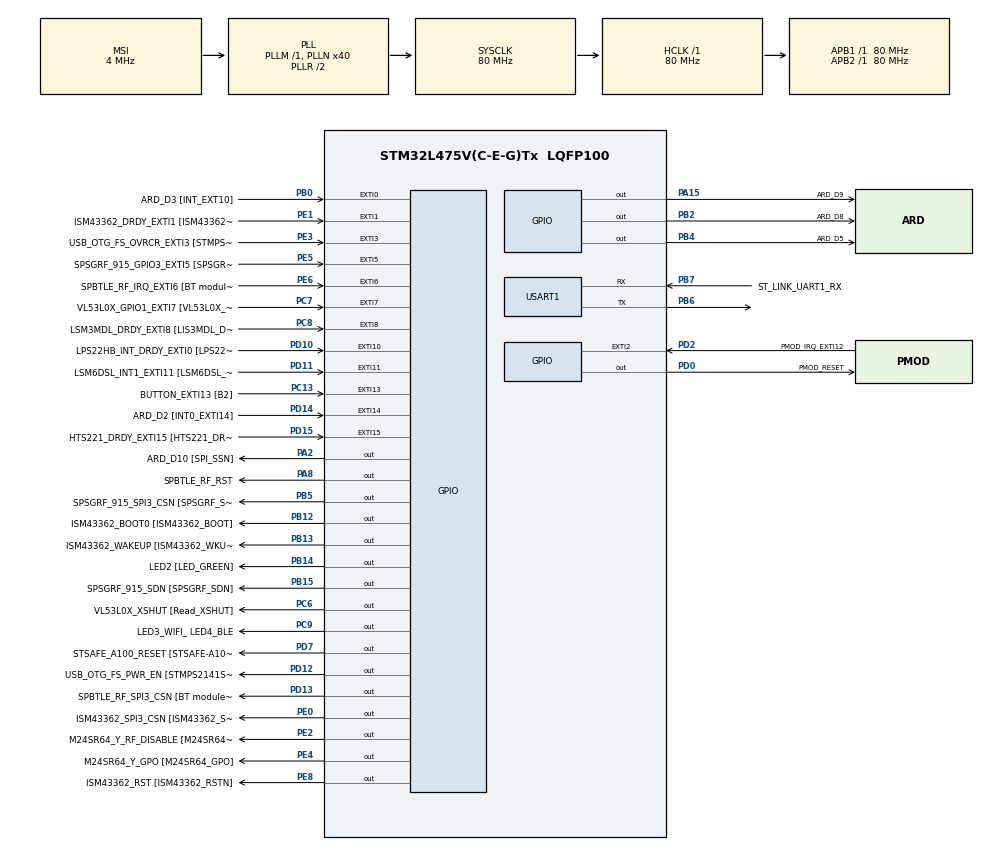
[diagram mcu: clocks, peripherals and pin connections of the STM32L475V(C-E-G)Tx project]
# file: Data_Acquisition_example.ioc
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ADC1.Channel-0\#ChannelRegularConversion=ADC_CHANNEL_TEMPSENSOR
ADC1.ContinuousConvMode=DISABLE
ADC1.DMAContinuousRequests=DISABLE
ADC1.ExternalTrigConv=ADC_EXTERNALTRIG_T1_TRGO
ADC1.NbrOfConversionFlag=1
ADC1.OffsetNumber-0\#ChannelRegularConversion=ADC_OFFSET_NONE
ADC1.Rank-0\#ChannelRegularConversion=1
ADC1.SamplingTime-0\#ChannelRegularConversion=ADC_SAMPLETIME_640CYCLES_5
ADC1.master=1
FREERTOS.BinarySemaphores01=adcsem,Dynamic,NULL,Depleted
FREERTOS.Tasks01=defaultTask,24,512,StartDefaultTask,Default,NULL,Dynamic,NULL,NULL
Mcu.Family=STM32L4
Mcu.Name=STM32L475V(C-E-G)Tx
Mcu.Package=LQFP100
NVIC.ADC1_2_IRQn=true\:5\:0\:true\:false\:true\:true\:true\:true\:true
NVIC.EXTI15_10_IRQn=true\:5\:0\:true\:false\:true\:true\:true\:true\:true
NVIC.EXTI9_5_IRQn=true\:5\:0\:false\:false\:true\:true\:true\:true\:true
NVIC.PriorityGroup=NVIC_PRIORITYGROUP_4
NVIC.TIM6_DAC_IRQn=true\:15\:0\:false\:false\:true\:false\:false\:true\:true
NVIC.TimeBase=TIM6_DAC_IRQn
NVIC.TimeBaseIP=TIM6
PA0.GPIO_Label=ARD_D1 [UART4_TX]
PA0.Signal=UART4_TX
PA1.GPIO_Label=ARD_D0 [UART4_RX]
PA1.Signal=UART4_RX
PA10.GPIO_Label=USB_OTG_FS_ID
PA10.Signal=USB_OTG_FS_ID
PA11.GPIO_Label=USB_OTG_FS_DM
PA11.Signal=USB_OTG_FS_DM
PA12.GPIO_Label=USB_OTG_FS_DP
PA12.Signal=USB_OTG_FS_DP
PA13\ (JTMS-SWDIO).GPIO_Label=SYS_JTMS_SWDIO
PA13\ (JTMS-SWDIO).Mode=Serial_Wire
PA13\ (JTMS-SWDIO).Signal=SYS_JTMS-SWDIO
PA14\ (JTCK-SWCLK).GPIO_Label=SYS_JTCK_SWCLK
PA14\ (JTCK-SWCLK).Mode=Serial_Wire
PA14\ (JTCK-SWCLK).Signal=SYS_JTCK-SWCLK
PA15\ (JTDI).GPIO_Label=ARD_D9
PA15\ (JTDI).Signal=GPIO_Output
PA2.GPIO_Label=ARD_D10 [SPI_SSN]
PA2.Signal=GPIO_Output
PA3.GPIO_Label=ARD_D4
PA3.Signal=S_TIM2_CH4
PA4.GPIO_Label=ARD_D7
PA4.Signal=ADCx_IN9
PA5.GPIO_Label=ARD_D13 [SPI1_SCK]
PA5.Signal=SPI1_SCK
PA6.GPIO_Label=ARD_D12 [SPI1_MISO]
PA6.Signal=SPI1_MISO
PA7.GPIO_Label=ARD_D11 [SPI1_MOSI]
PA7.Signal=SPI1_MOSI
PA8.GPIO_Label=SPBTLE_RF_RST
PA8.Signal=GPIO_Output
PA9.GPIO_Label=USB_OTG_FS_VBUS [STMPS2141STR_OUT]
PA9.Signal=USB_OTG_FS_VBUS
PB0.GPIO_Label=ARD_D3 [INT_EXT10]
PB0.Signal=GPXTI0
PB1.GPIO_Label=ARD_D6 [ADC1_IN6]
PB1.Signal=ADCx_IN16
PB10.GPIO_Label=INTERNAL_I2C2_SCL [VL53L0X_SCL]
PB10.Signal=I2C2_SCL
PB11.GPIO_Label=INTERNAL_I2C2_SDA [VL53L0X_SDA]
PB11.Signal=I2C2_SDA
PB12.GPIO_Label=ISM43362_BOOT0 [ISM43362_BOOT]
PB12.Signal=GPIO_Output
PB13.GPIO_Label=ISM43362_WAKEUP [ISM43362_WKUP]
PB13.Signal=GPIO_Output
PB14.GPIO_Label=LED2 [LED_GREEN]
PB14.Signal=GPIO_Output
PB15.GPIO_Label=SPSGRF_915_SDN [SPSGRF_SDN]
PB15.Signal=GPIO_Output
PB2.GPIO_Label=ARD_D8
PB2.Signal=GPIO_Output
PB3\ (JTDO-TRACESWO).GPIO_Label=SYS_JTD0_SWO
PB3\ (JTDO-TRACESWO).Signal=SYS_JTDO-SWO
PB4\ (NJTRST).GPIO_Label=ARD_D5
PB4\ (NJTRST).Signal=GPIO_Output
PB5.GPIO_Label=SPSGRF_915_SPI3_CSN [SPSGRF_SPI_CS]
PB5.PinState=GPIO_PIN_SET
PB5.Signal=GPIO_Output
PB6.Mode=Asynchronous
PB6.Signal=USART1_TX
PB7.GPIO_Label=ST_LINK_UART1_RX
PB7.Mode=Asynchronous
PB7.Signal=USART1_RX
PB8.GPIO_Label=ARD_D15 [I2C1_SCL]
PB8.Signal=I2C1_SCL
PB9.GPIO_Label=ARD_D14 [I2C1_SDA]
PB9.Signal=I2C1_SDA
PC0.GPIO_Label=ARD_A5 [ADC]
PC0.Signal=ADCx_IN1
PC1.GPIO_Label=ARD_A4 [ADC]
PC1.Signal=ADCx_IN2
PC10.GPIO_Label=INTERNAL_SPI3_SCK [BT module_SPI_SCLK] [ISM43362_SCK]
PC10.Signal=SPI3_SCK
PC11.GPIO_Label=INTERNAL_SPI3_MISO [BT module_SPI_MISO] [ISM43362_MISO]
PC11.Signal=SPI3_MISO
PC12.GPIO_Label=INTERNAL_SPI3_MOSI [BT module_SPI_MOSI] [ISM43362_MOSI]
PC12.Signal=SPI3_MOSI
PC13.GPIO_Label=BUTTON_EXTI13 [B2]
PC13.GPIO_ModeDefaultEXTI=GPIO_MODE_IT_FALLING
PC13.Signal=GPXTI13
PC14-OSC32_IN\ (PC14).Signal=RCC_OSC32_IN
PC15-OSC32_OUT\ (PC15).Signal=RCC_OSC32_OUT
PC2.GPIO_Label=ARD_A3 [ADC]
PC2.Signal=ADCx_IN3
PC3.GPIO_Label=ARD_A2 [ADC]
PC3.Signal=ADCx_IN4
PC4.GPIO_Label=ARD_A1 [ADC]
PC4.Signal=ADCx_IN13
PC5.GPIO_Label=ARD_A0 [ADC]
PC5.Signal=ADCx_IN14
PC6.GPIO_Label=VL53L0X_XSHUT [Read_XSHUT]
PC6.Signal=GPIO_Output
PC7.GPIO_Label=VL53L0X_GPIO1_EXTI7 [VL53L0X_GPIO1]
PC7.Signal=GPXTI7
PC8.GPIO_Label=LSM3MDL_DRDY_EXTI8 [LIS3MDL_DRDY]
PC8.Signal=GPXTI8
PC9.GPIO_Label=LED3_WIFI_ LED4_BLE
PC9.Signal=GPIO_Output
PD0.GPIO_Label=PMOD_RESET
PD0.Signal=GPIO_Output
PD1.GPIO_Label=PMOD_SPI2_SCK
PD1.Signal=SPI2_SCK
PD10.GPIO_Label=LPS22HB_INT_DRDY_EXTI0 [LPS22HB_INT_DRDY] 
PD10.Signal=GPXTI10
PD11.GPIO_Label=LSM6DSL_INT1_EXTI11 [LSM6DSL_INT1]
PD11.Signal=GPXTI11
PD12.GPIO_Label=USB_OTG_FS_PWR_EN [STMPS2141STR_EN]
PD12.Signal=GPIO_Output
PD13.GPIO_Label=SPBTLE_RF_SPI3_CSN [BT module_SPI_CS]
PD13.PinState=GPIO_PIN_SET
PD13.Signal=GPIO_Output
PD14.GPIO_Label=ARD_D2 [INT0_EXTI14]
PD14.Signal=GPXTI14
PD15.GPIO_Label=HTS221_DRDY_EXTI15 [HTS221_DRDY]
PD15.Signal=GPXTI15
PD2.GPIO_Label=PMOD_IRQ_EXTI12
PD2.Signal=GPXTI2
PD3.GPIO_Label=PMOD_UART2_CTS
PD3.Signal=USART2_CTS
PD4.GPIO_Label=PMOD_UART2_RTS
PD4.Signal=USART2_RTS
PD5.GPIO_Label=PMOD_UART2_TX
PD5.Signal=USART2_TX
PD6.GPIO_Label=PMOD_UART2_RX
PD6.Signal=USART2_RX
PD7.GPIO_Label=STSAFE_A100_RESET [STSAFE-A100_RESET]
PD7.Signal=GPIO_Output
PD8.GPIO_Label=INTERNAL_UART3_TX [ISM43362_RX]
PD8.Signal=USART3_TX
PD9.GPIO_Label=INTERNAL_UART3_RX [ISM43362_TX]
PD9.Signal=USART3_RX
PE0.GPIO_Label=ISM43362_SPI3_CSN [ISM43362_SSN]
PE0.PinState=GPIO_PIN_SET
PE0.Signal=GPIO_Output
PE1.GPIO_Label=ISM43362_DRDY_EXTI1 [ISM43362_DATARDY]
PE1.Signal=GPXTI1
PE10.GPIO_Label=QUADSPI_CLK [MX25R6435F_SCLK]
PE10.Signal=QUADSPI_CLK
PE11.GPIO_Label=QUADSPI_NCS [MX25R6435F_SCLK]
PE11.Signal=QUADSPI_NCS
PE12.GPIO_Label=OQUADSPI_BK1_IO0 [MX25R6435F_IO0]
PE12.Signal=QUADSPI_BK1_IO0
PE13.GPIO_Label=QUADSPI_BK1_IO1 [MX25R6435F_IO1]
PE13.Signal=QUADSPI_BK1_IO1
PE14.GPIO_Label=QUAD_SPI_BK1_IO2 [MX25R6435F_IO2]
PE14.Signal=QUADSPI_BK1_IO2
PE15.GPIO_Label=QUAD_SPI_BK1_IO3 [MX25R6435F_IO3]
PE15.Signal=QUADSPI_BK1_IO3
PE2.GPIO_Label=M24SR64_Y_RF_DISABLE [M24SR64_RFDIS]
PE2.Signal=GPIO_Output
PE3.GPIO_Label=USB_OTG_FS_OVRCR_EXTI3 [STMPS2141STR_FAULT]
PE3.Signal=GPXTI3
PE4.GPIO_Label=M24SR64_Y_GPO [M24SR64_GPO]
PE4.Signal=GPIO_Output
PE5.GPIO_Label=SPSGRF_915_GPIO3_EXTI5 [SPSGRF_GPIO_3]
PE5.Signal=GPXTI5
PE6.GPIO_Label=SPBTLE_RF_IRQ_EXTI6 [BT module_SPI_IRQ]
PE6.Signal=GPXTI6
PE7.GPIO_Label=DFSDM1_DATIN2 [MP34DT01_DOUT]
PE7.Signal=S_DATAIN2DFSDM1
PE8.GPIO_Label=ISM43362_RST [ISM43362_RSTN]
PE8.Signal=GPIO_Output
PE9.GPIO_Label=DFSDM1_CKOUT [MP34DT01_CLK]
PE9.Signal=S_CKOUTDFSDM1
ProjectManager.HeapSize=0x200
ProjectManager.StackSize=0x400
ProjectManager.TargetToolchain=STM32CubeIDE
RCC.ADCFreq_Value=48000000
RCC.AHBFreq_Value=80000000
RCC.APB1Freq_Value=80000000
RCC.APB1TimFreq_Value=80000000
RCC.APB2Freq_Value=80000000
RCC.APB2TimFreq_Value=80000000
RCC.CortexFreq_Value=80000000
RCC.HCLKFreq_Value=80000000
RCC.HSE_VALUE=8000000
RCC.HSI_VALUE=16000000
RCC.LSE_VALUE=32768
RCC.MSI_VALUE=4000000
RCC.PLLN=40
RCC.PLLSAI1N=24
RCC.SYSCLKFreq_VALUE=80000000
RCC.SYSCLKSource=RCC_SYSCLKSOURCE_PLLCLK
RCC.USBFreq_Value=48000000
RCC.VCOOutputFreq_Value=160000000
SH.ADCx_IN1.0=ADC1_IN1
SH.ADCx_IN13.0=ADC1_IN13
SH.ADCx_IN14.0=ADC1_IN14
SH.ADCx_IN16.0=ADC1_IN16
SH.ADCx_IN2.0=ADC1_IN2
SH.ADCx_IN3.0=ADC1_IN3
SH.ADCx_IN4.0=ADC1_IN4
SH.ADCx_IN9.0=ADC1_IN9
SH.S_CKOUTDFSDM1.0=DFSDM1_CKOUT
SH.S_DATAIN2DFSDM1.0=DFSDM1_DATIN2
SH.S_TIM2_CH4.0=TIM2_CH4
TIM1.Period=1000-1
TIM1.Prescaler=8000-1
TIM1.TIM_MasterOutputTrigger=TIM_TRGO_UPDATE
TIM1.TIM_MasterOutputTrigger2=TIM_TRGO2_RESET
USART1.VirtualMode-Asynchronous=VM_ASYNC
VP_ADC1_TempSens_Input.Mode=IN-TempSens
VP_FREERTOS_VS_CMSIS_V2.Mode=CMSIS_V2
VP_SYS_VS_tim6.Mode=TIM6
VP_TIM1_VS_ClockSourceINT.Mode=Internal
board=B-L475E-IOT01A1

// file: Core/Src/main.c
/* USER CODE BEGIN Header */
/**
  ******************************************************************************
  * @file           : main.c
  * @brief          : Main program body
  ******************************************************************************
  * @attention
  *
  * Copyright (c) 2026 STMicroelectronics.
  * All rights reserved.
  *
  * This software is licensed under terms that can be found in the LICENSE file
  * in the root directory of this software component.
  * If no LICENSE file comes with this software, it is provided AS-IS.
  *
  ******************************************************************************
  */
/* USER CODE END Header */
#include "main.h"
#include "cmsis_os.h"

/* USER CODE BEGIN Includes */
#include <stdio.h>

/* USER CODE END Includes */

ADC_HandleTypeDef hadc1;

TIM_HandleTypeDef htim1;

UART_HandleTypeDef huart1;

/* Definitions for defaultTask */
osThreadId_t defaultTaskHandle;
const osThreadAttr_t defaultTask_attributes = {
  .name = "defaultTask",
  .stack_size = 512 * 4,
  .priority = (osPriority_t) osPriorityNormal,
};
/* Definitions for adcsem */
osSemaphoreId_t adcsemHandle;
const osSemaphoreAttr_t adcsem_attributes = {
  .name = "adcsem"
};
/* USER CODE BEGIN PV */
volatile uint16_t adcValue;     // ISR 讀到的轉換結果，交給 task 用
/* USER CODE END PV */

void SystemClock_Config(void);
static void MX_GPIO_Init(void);
static void MX_ADC1_Init(void);
static void MX_USART1_UART_Init(void);
static void MX_TIM1_Init(void);
void StartDefaultTask(void *argument);

int main(void)
{

  /* MCU Configuration--------------------------------------------------------*/

  /* Reset of all peripherals, Initializes the Flash interface and the Systick. */
  HAL_Init();

  /* Configure the system clock */
  SystemClock_Config();

  /* Initialize all configured peripherals */
  MX_GPIO_Init();
  MX_ADC1_Init();
  MX_USART1_UART_Init();
  MX_TIM1_Init();

  /* Init scheduler */
  osKernelInitialize();

  /* Create the semaphores(s) */
  /* creation of adcsem */
  adcsemHandle = osSemaphoreNew(1, 0, &adcsem_attributes);

  /* Create the thread(s) */
  /* creation of defaultTask */
  defaultTaskHandle = osThreadNew(StartDefaultTask, NULL, &defaultTask_attributes);

  /* Start scheduler */
  osKernelStart();

  /* We should never get here as control is now taken by the scheduler */

  /* Infinite loop */
  while (1)
  {

  }
}

void SystemClock_Config(void)
{
  RCC_OscInitTypeDef RCC_OscInitStruct = {0};
  RCC_ClkInitTypeDef RCC_ClkInitStruct = {0};

  /** Configure the main internal regulator output voltage
  */
  if (HAL_PWREx_ControlVoltageScaling(PWR_REGULATOR_VOLTAGE_SCALE1) != HAL_OK)
  {
    Error_Handler();
  }

  /** Initializes the RCC Oscillators according to the specified parameters
  * in the RCC_OscInitTypeDef structure.
  */
  RCC_OscInitStruct.OscillatorType = RCC_OSCILLATORTYPE_MSI;
  RCC_OscInitStruct.MSIState = RCC_MSI_ON;
  RCC_OscInitStruct.MSICalibrationValue = 0;
  RCC_OscInitStruct.MSIClockRange = RCC_MSIRANGE_6;
  RCC_OscInitStruct.PLL.PLLState = RCC_PLL_ON;
  RCC_OscInitStruct.PLL.PLLSource = RCC_PLLSOURCE_MSI;
  RCC_OscInitStruct.PLL.PLLM = 1;
  RCC_OscInitStruct.PLL.PLLN = 40;
  RCC_OscInitStruct.PLL.PLLP = RCC_PLLP_DIV7;
  RCC_OscInitStruct.PLL.PLLQ = RCC_PLLQ_DIV2;
  RCC_OscInitStruct.PLL.PLLR = RCC_PLLR_DIV2;
  if (HAL_RCC_OscConfig(&RCC_OscInitStruct) != HAL_OK)
  {
    Error_Handler();
  }

  /** Initializes the CPU, AHB and APB buses clocks
  */
  RCC_ClkInitStruct.ClockType = RCC_CLOCKTYPE_HCLK|RCC_CLOCKTYPE_SYSCLK
                              |RCC_CLOCKTYPE_PCLK1|RCC_CLOCKTYPE_PCLK2;
  RCC_ClkInitStruct.SYSCLKSource = RCC_SYSCLKSOURCE_PLLCLK;
  RCC_ClkInitStruct.AHBCLKDivider = RCC_SYSCLK_DIV1;
  RCC_ClkInitStruct.APB1CLKDivider = RCC_HCLK_DIV1;
  RCC_ClkInitStruct.APB2CLKDivider = RCC_HCLK_DIV1;

  if (HAL_RCC_ClockConfig(&RCC_ClkInitStruct, FLASH_LATENCY_4) != HAL_OK)
  {
    Error_Handler();
  }
}

static void MX_ADC1_Init(void)
{

  ADC_MultiModeTypeDef multimode = {0};
  ADC_ChannelConfTypeDef sConfig = {0};

  /** Common config
  */
  hadc1.Instance = ADC1;
  hadc1.Init.ClockPrescaler = ADC_CLOCK_ASYNC_DIV1;
  hadc1.Init.Resolution = ADC_RESOLUTION_12B;
  hadc1.Init.DataAlign = ADC_DATAALIGN_RIGHT;
  hadc1.Init.ScanConvMode = ADC_SCAN_DISABLE;
  hadc1.Init.EOCSelection = ADC_EOC_SINGLE_CONV;
  hadc1.Init.LowPowerAutoWait = DISABLE;
  hadc1.Init.ContinuousConvMode = DISABLE;
  hadc1.Init.NbrOfConversion = 1;
  hadc1.Init.DiscontinuousConvMode = DISABLE;
  hadc1.Init.ExternalTrigConv = ADC_EXTERNALTRIG_T1_TRGO;
  hadc1.Init.ExternalTrigConvEdge = ADC_EXTERNALTRIGCONVEDGE_RISING;
  hadc1.Init.DMAContinuousRequests = DISABLE;
  hadc1.Init.Overrun = ADC_OVR_DATA_PRESERVED;
  hadc1.Init.OversamplingMode = DISABLE;
  if (HAL_ADC_Init(&hadc1) != HAL_OK)
  {
    Error_Handler();
  }

  /** Configure the ADC multi-mode
  */
  multimode.Mode = ADC_MODE_INDEPENDENT;
  if (HAL_ADCEx_MultiModeConfigChannel(&hadc1, &multimode) != HAL_OK)
  {
    Error_Handler();
  }

  /** Configure Regular Channel
  */
  sConfig.Channel = ADC_CHANNEL_TEMPSENSOR;
  sConfig.Rank = ADC_REGULAR_RANK_1;
  sConfig.SamplingTime = ADC_SAMPLETIME_640CYCLES_5;
  sConfig.SingleDiff = ADC_SINGLE_ENDED;
  sConfig.OffsetNumber = ADC_OFFSET_NONE;
  sConfig.Offset = 0;
  if (HAL_ADC_ConfigChannel(&hadc1, &sConfig) != HAL_OK)
  {
    Error_Handler();
  }

}

static void MX_TIM1_Init(void)
{

  TIM_ClockConfigTypeDef sClockSourceConfig = {0};
  TIM_MasterConfigTypeDef sMasterConfig = {0};

  htim1.Instance = TIM1;
  htim1.Init.Prescaler = 8000-1;
  htim1.Init.CounterMode = TIM_COUNTERMODE_UP;
  htim1.Init.Period = 1000-1;
  htim1.Init.ClockDivision = TIM_CLOCKDIVISION_DIV1;
  htim1.Init.RepetitionCounter = 0;
  htim1.Init.AutoReloadPreload = TIM_AUTORELOAD_PRELOAD_DISABLE;
  if (HAL_TIM_Base_Init(&htim1) != HAL_OK)
  {
    Error_Handler();
  }
  sClockSourceConfig.ClockSource = TIM_CLOCKSOURCE_INTERNAL;
  if (HAL_TIM_ConfigClockSource(&htim1, &sClockSourceConfig) != HAL_OK)
  {
    Error_Handler();
  }
  sMasterConfig.MasterOutputTrigger = TIM_TRGO_UPDATE;
  sMasterConfig.MasterOutputTrigger2 = TIM_TRGO2_RESET;
  sMasterConfig.MasterSlaveMode = TIM_MASTERSLAVEMODE_DISABLE;
  if (HAL_TIMEx_MasterConfigSynchronization(&htim1, &sMasterConfig) != HAL_OK)
  {
    Error_Handler();
  }

}

static void MX_USART1_UART_Init(void)
{

  huart1.Instance = USART1;
  huart1.Init.BaudRate = 115200;
  huart1.Init.WordLength = UART_WORDLENGTH_8B;
  huart1.Init.StopBits = UART_STOPBITS_1;
  huart1.Init.Parity = UART_PARITY_NONE;
  huart1.Init.Mode = UART_MODE_TX_RX;
  huart1.Init.HwFlowCtl = UART_HWCONTROL_NONE;
  huart1.Init.OverSampling = UART_OVERSAMPLING_16;
  huart1.Init.OneBitSampling = UART_ONE_BIT_SAMPLE_DISABLE;
  huart1.AdvancedInit.AdvFeatureInit = UART_ADVFEATURE_NO_INIT;
  if (HAL_UART_Init(&huart1) != HAL_OK)
  {
    Error_Handler();
  }

}

static void MX_GPIO_Init(void)
{
  GPIO_InitTypeDef GPIO_InitStruct = {0};

  /* GPIO Ports Clock Enable */
  __HAL_RCC_GPIOE_CLK_ENABLE();
  __HAL_RCC_GPIOC_CLK_ENABLE();
  __HAL_RCC_GPIOA_CLK_ENABLE();
  __HAL_RCC_GPIOB_CLK_ENABLE();
  __HAL_RCC_GPIOD_CLK_ENABLE();

  /*Configure GPIO pin Output Level */
  HAL_GPIO_WritePin(GPIOE, M24SR64_Y_RF_DISABLE_Pin|M24SR64_Y_GPO_Pin|ISM43362_RST_Pin, GPIO_PIN_RESET);

  /*Configure GPIO pin Output Level */
  HAL_GPIO_WritePin(GPIOA, ARD_D10_Pin|SPBTLE_RF_RST_Pin|ARD_D9_Pin, GPIO_PIN_RESET);

  /*Configure GPIO pin Output Level */
  HAL_GPIO_WritePin(GPIOB, ARD_D8_Pin|ISM43362_BOOT0_Pin|ISM43362_WAKEUP_Pin|LED2_Pin
                          |SPSGRF_915_SDN_Pin|ARD_D5_Pin, GPIO_PIN_RESET);

  /*Configure GPIO pin Output Level */
  HAL_GPIO_WritePin(GPIOD, USB_OTG_FS_PWR_EN_Pin|PMOD_RESET_Pin|STSAFE_A100_RESET_Pin, GPIO_PIN_RESET);

  /*Configure GPIO pin Output Level */
  HAL_GPIO_WritePin(SPBTLE_RF_SPI3_CSN_GPIO_Port, SPBTLE_RF_SPI3_CSN_Pin, GPIO_PIN_SET);

  /*Configure GPIO pin Output Level */
  HAL_GPIO_WritePin(GPIOC, VL53L0X_XSHUT_Pin|LED3_WIFI__LED4_BLE_Pin, GPIO_PIN_RESET);

  /*Configure GPIO pin Output Level */
  HAL_GPIO_WritePin(SPSGRF_915_SPI3_CSN_GPIO_Port, SPSGRF_915_SPI3_CSN_Pin, GPIO_PIN_SET);

  /*Configure GPIO pin Output Level */
  HAL_GPIO_WritePin(ISM43362_SPI3_CSN_GPIO_Port, ISM43362_SPI3_CSN_Pin, GPIO_PIN_SET);

  /*Configure GPIO pins : M24SR64_Y_RF_DISABLE_Pin M24SR64_Y_GPO_Pin ISM43362_RST_Pin ISM43362_SPI3_CSN_Pin */
  GPIO_InitStruct.Pin = M24SR64_Y_RF_DISABLE_Pin|M24SR64_Y_GPO_Pin|ISM43362_RST_Pin|ISM43362_SPI3_CSN_Pin;
  GPIO_InitStruct.Mode = GPIO_MODE_OUTPUT_PP;
  GPIO_InitStruct.Pull = GPIO_NOPULL;
  GPIO_InitStruct.Speed = GPIO_SPEED_FREQ_LOW;
  HAL_GPIO_Init(GPIOE, &GPIO_InitStruct);

  /*Configure GPIO pins : USB_OTG_FS_OVRCR_EXTI3_Pin SPSGRF_915_GPIO3_EXTI5_Pin SPBTLE_RF_IRQ_EXTI6_Pin ISM43362_DRDY_EXTI1_Pin */
  GPIO_InitStruct.Pin = USB_OTG_FS_OVRCR_EXTI3_Pin|SPSGRF_915_GPIO3_EXTI5_Pin|SPBTLE_RF_IRQ_EXTI6_Pin|ISM43362_DRDY_EXTI1_Pin;
  GPIO_InitStruct.Mode = GPIO_MODE_IT_RISING;
  GPIO_InitStruct.Pull = GPIO_NOPULL;
  HAL_GPIO_Init(GPIOE, &GPIO_InitStruct);

  /*Configure GPIO pin : BUTTON_EXTI13_Pin */
  GPIO_InitStruct.Pin = BUTTON_EXTI13_Pin;
  GPIO_InitStruct.Mode = GPIO_MODE_IT_FALLING;
  GPIO_InitStruct.Pull = GPIO_NOPULL;
  HAL_GPIO_Init(BUTTON_EXTI13_GPIO_Port, &GPIO_InitStruct);

  /*Configure GPIO pins : ARD_D1_Pin ARD_D0_Pin */
  GPIO_InitStruct.Pin = ARD_D1_Pin|ARD_D0_Pin;
  GPIO_InitStruct.Mode = GPIO_MODE_AF_PP;
  GPIO_InitStruct.Pull = GPIO_NOPULL;
  GPIO_InitStruct.Speed = GPIO_SPEED_FREQ_VERY_HIGH;
  GPIO_InitStruct.Alternate = GPIO_AF8_UART4;
  HAL_GPIO_Init(GPIOA, &GPIO_InitStruct);

  /*Configure GPIO pins : ARD_D10_Pin SPBTLE_RF_RST_Pin ARD_D9_Pin */
  GPIO_InitStruct.Pin = ARD_D10_Pin|SPBTLE_RF_RST_Pin|ARD_D9_Pin;
  GPIO_InitStruct.Mode = GPIO_MODE_OUTPUT_PP;
  GPIO_InitStruct.Pull = GPIO_NOPULL;
  GPIO_InitStruct.Speed = GPIO_SPEED_FREQ_LOW;
  HAL_GPIO_Init(GPIOA, &GPIO_InitStruct);

  /*Configure GPIO pin : ARD_D4_Pin */
  GPIO_InitStruct.Pin = ARD_D4_Pin;
  GPIO_InitStruct.Mode = GPIO_MODE_AF_PP;
  GPIO_InitStruct.Pull = GPIO_NOPULL;
  GPIO_InitStruct.Speed = GPIO_SPEED_FREQ_LOW;
  GPIO_InitStruct.Alternate = GPIO_AF1_TIM2;
  HAL_GPIO_Init(ARD_D4_GPIO_Port, &GPIO_InitStruct);

  /*Configure GPIO pins : ARD_D13_Pin ARD_D12_Pin ARD_D11_Pin */
  GPIO_InitStruct.Pin = ARD_D13_Pin|ARD_D12_Pin|ARD_D11_Pin;
  GPIO_InitStruct.Mode = GPIO_MODE_AF_PP;
  GPIO_InitStruct.Pull = GPIO_NOPULL;
  GPIO_InitStruct.Speed = GPIO_SPEED_FREQ_VERY_HIGH;
  GPIO_InitStruct.Alternate = GPIO_AF5_SPI1;
  HAL_GPIO_Init(GPIOA, &GPIO_InitStruct);

  /*Configure GPIO pin : ARD_D3_Pin */
  GPIO_InitStruct.Pin = ARD_D3_Pin;
  GPIO_InitStruct.Mode = GPIO_MODE_IT_RISING;
  GPIO_InitStruct.Pull = GPIO_NOPULL;
  HAL_GPIO_Init(ARD_D3_GPIO_Port, &GPIO_InitStruct);

  /*Configure GPIO pins : ARD_D8_Pin ISM43362_BOOT0_Pin ISM43362_WAKEUP_Pin LED2_Pin
                           SPSGRF_915_SDN_Pin ARD_D5_Pin SPSGRF_915_SPI3_CSN_Pin */
  GPIO_InitStruct.Pin = ARD_D8_Pin|ISM43362_BOOT0_Pin|ISM43362_WAKEUP_Pin|LED2_Pin
                          |SPSGRF_915_SDN_Pin|ARD_D5_Pin|SPSGRF_915_SPI3_CSN_Pin;
  GPIO_InitStruct.Mode = GPIO_MODE_OUTPUT_PP;
  GPIO_InitStruct.Pull = GPIO_NOPULL;
  GPIO_InitStruct.Speed = GPIO_SPEED_FREQ_LOW;
  HAL_GPIO_Init(GPIOB, &GPIO_InitStruct);

  /*Configure GPIO pins : DFSDM1_DATIN2_Pin DFSDM1_CKOUT_Pin */
  GPIO_InitStruct.Pin = DFSDM1_DATIN2_Pin|DFSDM1_CKOUT_Pin;
  GPIO_InitStruct.Mode = GPIO_MODE_AF_PP;
  GPIO_InitStruct.Pull = GPIO_NOPULL;
  GPIO_InitStruct.Speed = GPIO_SPEED_FREQ_LOW;
  GPIO_InitStruct.Alternate = GPIO_AF6_DFSDM1;
  HAL_GPIO_Init(GPIOE, &GPIO_InitStruct);

  /*Configure GPIO pins : QUADSPI_CLK_Pin QUADSPI_NCS_Pin OQUADSPI_BK1_IO0_Pin QUADSPI_BK1_IO1_Pin
                           QUAD_SPI_BK1_IO2_Pin QUAD_SPI_BK1_IO3_Pin */
  GPIO_InitStruct.Pin = QUADSPI_CLK_Pin|QUADSPI_NCS_Pin|OQUADSPI_BK1_IO0_Pin|QUADSPI_BK1_IO1_Pin
                          |QUAD_SPI_BK1_IO2_Pin|QUAD_SPI_BK1_IO3_Pin;
  GPIO_InitStruct.Mode = GPIO_MODE_AF_PP;
  GPIO_InitStruct.Pull = GPIO_NOPULL;
  GPIO_InitStruct.Speed = GPIO_SPEED_FREQ_VERY_HIGH;
  GPIO_InitStruct.Alternate = GPIO_AF10_QUADSPI;
  HAL_GPIO_Init(GPIOE, &GPIO_InitStruct);

  /*Configure GPIO pins : INTERNAL_I2C2_SCL_Pin INTERNAL_I2C2_SDA_Pin */
  GPIO_InitStruct.Pin = INTERNAL_I2C2_SCL_Pin|INTERNAL_I2C2_SDA_Pin;
  GPIO_InitStruct.Mode = GPIO_MODE_AF_OD;
  GPIO_InitStruct.Pull = GPIO_NOPULL;
  GPIO_InitStruct.Speed = GPIO_SPEED_FREQ_VERY_HIGH;
  GPIO_InitStruct.Alternate = GPIO_AF4_I2C2;
  HAL_GPIO_Init(GPIOB, &GPIO_InitStruct);

  /*Configure GPIO pins : INTERNAL_UART3_TX_Pin INTERNAL_UART3_RX_Pin */
  GPIO_InitStruct.Pin = INTERNAL_UART3_TX_Pin|INTERNAL_UART3_RX_Pin;
  GPIO_InitStruct.Mode = GPIO_MODE_AF_PP;
  GPIO_InitStruct.Pull = GPIO_NOPULL;
  GPIO_InitStruct.Speed = GPIO_SPEED_FREQ_VERY_HIGH;
  GPIO_InitStruct.Alternate = GPIO_AF7_USART3;
  HAL_GPIO_Init(GPIOD, &GPIO_InitStruct);

  /*Configure GPIO pins : LPS22HB_INT_DRDY_EXTI0_Pin LSM6DSL_INT1_EXTI11_Pin ARD_D2_Pin HTS221_DRDY_EXTI15_Pin
                           PMOD_IRQ_EXTI12_Pin */
  GPIO_InitStruct.Pin = LPS22HB_INT_DRDY_EXTI0_Pin|LSM6DSL_INT1_EXTI11_Pin|ARD_D2_Pin|HTS221_DRDY_EXTI15_Pin
                          |PMOD_IRQ_EXTI12_Pin;
  GPIO_InitStruct.Mode = GPIO_MODE_IT_RISING;
  GPIO_InitStruct.Pull = GPIO_NOPULL;
  HAL_GPIO_Init(GPIOD, &GPIO_InitStruct);

  /*Configure GPIO pins : USB_OTG_FS_PWR_EN_Pin SPBTLE_RF_SPI3_CSN_Pin PMOD_RESET_Pin STSAFE_A100_RESET_Pin */
  GPIO_InitStruct.Pin = USB_OTG_FS_PWR_EN_Pin|SPBTLE_RF_SPI3_CSN_Pin|PMOD_RESET_Pin|STSAFE_A100_RESET_Pin;
  GPIO_InitStruct.Mode = GPIO_MODE_OUTPUT_PP;
  GPIO_InitStruct.Pull = GPIO_NOPULL;
  GPIO_InitStruct.Speed = GPIO_SPEED_FREQ_LOW;
  HAL_GPIO_Init(GPIOD, &GPIO_InitStruct);

  /*Configure GPIO pins : VL53L0X_XSHUT_Pin LED3_WIFI__LED4_BLE_Pin */
  GPIO_InitStruct.Pin = VL53L0X_XSHUT_Pin|LED3_WIFI__LED4_BLE_Pin;
  GPIO_InitStruct.Mode = GPIO_MODE_OUTPUT_PP;
  GPIO_InitStruct.Pull = GPIO_NOPULL;
  GPIO_InitStruct.Speed = GPIO_SPEED_FREQ_LOW;
  HAL_GPIO_Init(GPIOC, &GPIO_InitStruct);

  /*Configure GPIO pins : VL53L0X_GPIO1_EXTI7_Pin LSM3MDL_DRDY_EXTI8_Pin */
  GPIO_InitStruct.Pin = VL53L0X_GPIO1_EXTI7_Pin|LSM3MDL_DRDY_EXTI8_Pin;
  GPIO_InitStruct.Mode = GPIO_MODE_IT_RISING;
  GPIO_InitStruct.Pull = GPIO_NOPULL;
  HAL_GPIO_Init(GPIOC, &GPIO_InitStruct);

  /*Configure GPIO pin : USB_OTG_FS_VBUS_Pin */
  GPIO_InitStruct.Pin = USB_OTG_FS_VBUS_Pin;
  GPIO_InitStruct.Mode = GPIO_MODE_INPUT;
  GPIO_InitStruct.Pull = GPIO_NOPULL;
  HAL_GPIO_Init(USB_OTG_FS_VBUS_GPIO_Port, &GPIO_InitStruct);

  /*Configure GPIO pins : USB_OTG_FS_ID_Pin USB_OTG_FS_DM_Pin USB_OTG_FS_DP_Pin */
  GPIO_InitStruct.Pin = USB_OTG_FS_ID_Pin|USB_OTG_FS_DM_Pin|USB_OTG_FS_DP_Pin;
  GPIO_InitStruct.Mode = GPIO_MODE_AF_PP;
  GPIO_InitStruct.Pull = GPIO_NOPULL;
  GPIO_InitStruct.Speed = GPIO_SPEED_FREQ_VERY_HIGH;
  GPIO_InitStruct.Alternate = GPIO_AF10_OTG_FS;
  HAL_GPIO_Init(GPIOA, &GPIO_InitStruct);

  /*Configure GPIO pins : INTERNAL_SPI3_SCK_Pin INTERNAL_SPI3_MISO_Pin INTERNAL_SPI3_MOSI_Pin */
  GPIO_InitStruct.Pin = INTERNAL_SPI3_SCK_Pin|INTERNAL_SPI3_MISO_Pin|INTERNAL_SPI3_MOSI_Pin;
  GPIO_InitStruct.Mode = GPIO_MODE_AF_PP;
  GPIO_InitStruct.Pull = GPIO_NOPULL;
  GPIO_InitStruct.Speed = GPIO_SPEED_FREQ_VERY_HIGH;
  GPIO_InitStruct.Alternate = GPIO_AF6_SPI3;
  HAL_GPIO_Init(GPIOC, &GPIO_InitStruct);

  /*Configure GPIO pin : PMOD_SPI2_SCK_Pin */
  GPIO_InitStruct.Pin = PMOD_SPI2_SCK_Pin;
  GPIO_InitStruct.Mode = GPIO_MODE_AF_PP;
  GPIO_InitStruct.Pull = GPIO_NOPULL;
  GPIO_InitStruct.Speed = GPIO_SPEED_FREQ_VERY_HIGH;
  GPIO_InitStruct.Alternate = GPIO_AF5_SPI2;
  HAL_GPIO_Init(PMOD_SPI2_SCK_GPIO_Port, &GPIO_InitStruct);

  /*Configure GPIO pins : PMOD_UART2_CTS_Pin PMOD_UART2_RTS_Pin PMOD_UART2_TX_Pin PMOD_UART2_RX_Pin */
  GPIO_InitStruct.Pin = PMOD_UART2_CTS_Pin|PMOD_UART2_RTS_Pin|PMOD_UART2_TX_Pin|PMOD_UART2_RX_Pin;
  GPIO_InitStruct.Mode = GPIO_MODE_AF_PP;
  GPIO_InitStruct.Pull = GPIO_NOPULL;
  GPIO_InitStruct.Speed = GPIO_SPEED_FREQ_VERY_HIGH;
  GPIO_InitStruct.Alternate = GPIO_AF7_USART2;
  HAL_GPIO_Init(GPIOD, &GPIO_InitStruct);

  /*Configure GPIO pins : ARD_D15_Pin ARD_D14_Pin */
  GPIO_InitStruct.Pin = ARD_D15_Pin|ARD_D14_Pin;
  GPIO_InitStruct.Mode = GPIO_MODE_AF_OD;
  GPIO_InitStruct.Pull = GPIO_NOPULL;
  GPIO_InitStruct.Speed = GPIO_SPEED_FREQ_VERY_HIGH;
  GPIO_InitStruct.Alternate = GPIO_AF4_I2C1;
  HAL_GPIO_Init(GPIOB, &GPIO_InitStruct);

  /* EXTI interrupt init*/
  HAL_NVIC_SetPriority(EXTI9_5_IRQn, 5, 0);
  HAL_NVIC_EnableIRQ(EXTI9_5_IRQn);

  HAL_NVIC_SetPriority(EXTI15_10_IRQn, 5, 0);
  HAL_NVIC_EnableIRQ(EXTI15_10_IRQn);

}

/* USER CODE BEGIN 4 */
int _write(int file, char *ptr, int len)
{
    HAL_UART_Transmit(&huart1, (uint8_t*)ptr, len, HAL_MAX_DELAY);
    return len;
}

void HAL_ADC_ConvCpltCallback(ADC_HandleTypeDef* hadc)
{
    if (hadc->Instance == ADC1)
    {
        adcValue = HAL_ADC_GetValue(hadc);     // 讀出結果（同時清除 EOC 旗標）
        osSemaphoreRelease(adcsemHandle);      // 通知 task：有新資料了
    }
}

/* USER CODE END 4 */

void StartDefaultTask(void *argument)
{
  /* USER CODE BEGIN 5 */
  /* Infinite loop */
	HAL_ADCEx_Calibration_Start(&hadc1, ADC_SINGLE_ENDED);   // 1. 校準
	HAL_ADC_Start_IT(&hadc1);                                // 2. 啟動 ADC（中斷模式），等 TIM1 觸發
	HAL_TIM_Base_Start(&htim1);                              // 3. 啟動 TIM1，開始定頻觸發

	for(;;)
	{
	    osSemaphoreAcquire(adcsemHandle, osWaitForever);     // 睡到中斷來叫醒
	    uint16_t raw = adcValue;
	    int32_t temp = __HAL_ADC_CALC_TEMPERATURE(3300, raw, ADC_RESOLUTION_12B);
	    printf("raw = %u, temp = %ld C\r\n", raw, (long)temp);
	}
  /* USER CODE END 5 */
}

void HAL_TIM_PeriodElapsedCallback(TIM_HandleTypeDef *htim)
{
  if (htim->Instance == TIM6)
  {
    HAL_IncTick();
  }
}

void Error_Handler(void)
{
  __disable_irq();
  while (1)
  {
  }
}
